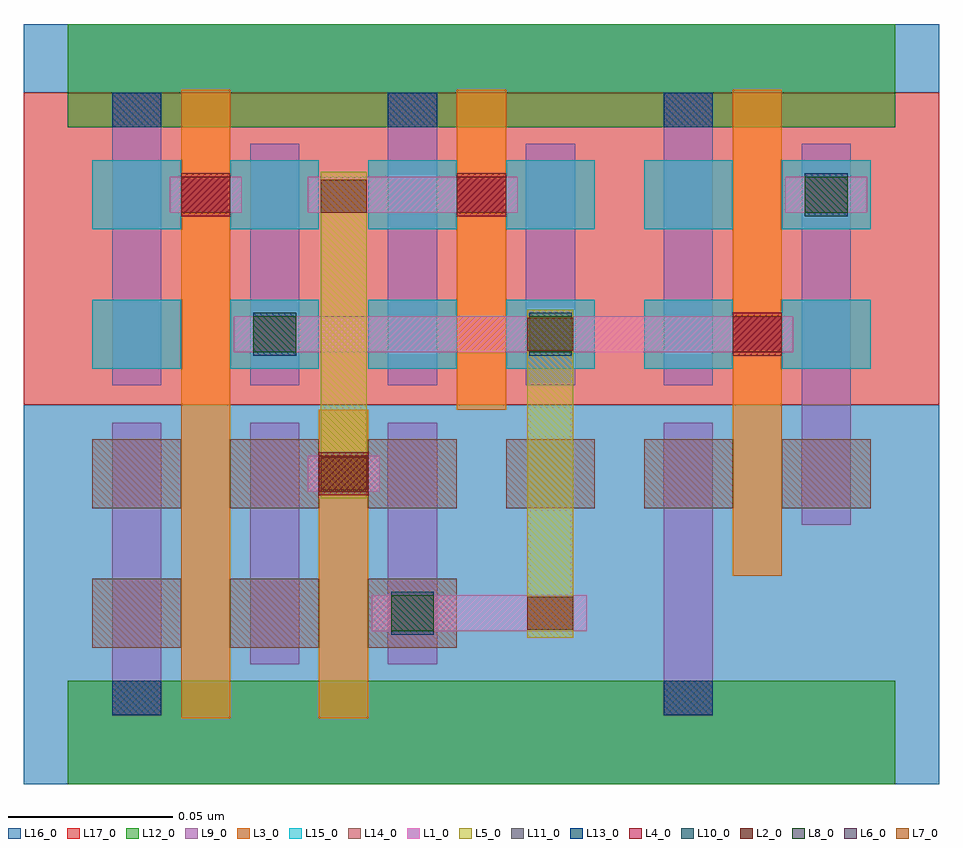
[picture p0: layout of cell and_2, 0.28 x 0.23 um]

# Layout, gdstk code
import gdstk
lib = gdstk.Library(unit=1e-6, precision=2.5e-10)
def R(c, l, rs):  # rectangles x0, y0, x1, y1
    for r in rs: c.add(gdstk.rectangle(r[:2], r[2:], *l))
def A(c, l, x, y, w, h, nx, ny, dx, dy):  # array of equal rectangles
    R(c, l, [(x+i*dx, y+j*dy, x+i*dx+w, y+j*dy+h) for i in range(nx) for j in range(ny)])
L1_0 = (1, 0)
L2_0 = (2, 0)
L3_0 = (3, 0)
L4_0 = (4, 0)
L5_0 = (5, 0)
L6_0 = (6, 0)
L7_0 = (7, 0)
L8_0 = (8, 0)
L9_0 = (9, 0)
L10_0 = (10, 0)
L11_0 = (11, 0)
L12_0 = (12, 0)
L13_0 = (13, 0)
L14_0 = (14, 0)
L15_0 = (15, 0)
L16_0 = (16, 0)
L17_0 = (17, 0)

and_2 = lib.new_cell('and_2')
R(and_2, L1_0, [(0.495,0.2225,0.5605,0.2335), (0.4755,0.265,0.4975,0.276), (0.453,0.3075,0.6235,0.3185), (0.4335,0.35,0.4555,0.361), (0.4755,0.35,0.5395,0.361), (0.621,0.35,0.646,0.361)])
R(and_2, L2_0, [(0.479,0.265,0.494,0.276), (0.605,0.3075,0.62,0.3185), (0.437,0.35,0.452,0.361), (0.521,0.35,0.536,0.361)])
R(and_2, L3_0, [(0.437,0.196,0.452,0.3875), (0.479,0.196,0.494,0.29), (0.605,0.2395,0.62,0.3875), (0.521,0.29,0.536,0.3875)])
R(and_2, L4_0, [(0.479,0.264,0.494,0.277), (0.605,0.3065,0.62,0.3195), (0.437,0.349,0.452,0.362), (0.521,0.349,0.536,0.362)])
R(and_2, L5_0, [(0.5425,0.2205,0.5565,0.3205), (0.4795,0.263,0.4935,0.3625)])
R(and_2, L6_0, [(0.5425,0.223,0.5565,0.233), (0.4795,0.2655,0.4935,0.2755), (0.5425,0.308,0.5565,0.318), (0.4795,0.35,0.4935,0.36)])
R(and_2, L7_0, [(0.5425,0.223,0.5565,0.233), (0.4795,0.2655,0.4935,0.2755), (0.5425,0.308,0.5565,0.318), (0.4795,0.35,0.4935,0.36)])
R(and_2, L8_0, [(0.501,0.2225,0.514,0.2335), (0.459,0.3075,0.472,0.3185), (0.543,0.3075,0.556,0.3185), (0.627,0.35,0.64,0.361)])
A(and_2, L9_0, 0.416, 0.2975, 0.015, 0.089, 3, 1, 0.084, 0)
R(and_2, L9_0, [(0.416,0.197,0.431,0.286), (0.584,0.197,0.599,0.286), (0.458,0.2125,0.473,0.286), (0.5,0.2125,0.515,0.286), (0.626,0.255,0.641,0.371), (0.458,0.2975,0.473,0.371), (0.542,0.2975,0.557,0.371)])
R(and_2, L10_0, [(0.501,0.2215,0.514,0.2345), (0.459,0.3065,0.472,0.3195), (0.543,0.3065,0.556,0.3195), (0.627,0.349,0.64,0.362)])
A(and_2, L11_0, 0.416, 0.376, 0.015, 0.0105, 3, 1, 0.084, 0)
R(and_2, L11_0, [(0.416,0.197,0.431,0.2075), (0.584,0.197,0.599,0.2075)])
R(and_2, L12_0, [(0.4025,0.176,0.6545,0.2075), (0.4025,0.376,0.6545,0.4075)])
A(and_2, L13_0, 0.416, 0.376, 0.015, 0.0105, 3, 1, 0.084, 0)
R(and_2, L13_0, [(0.416,0.197,0.431,0.2075), (0.584,0.197,0.599,0.2075)])
A(and_2, L14_0, 0.41, 0.2175, 0.027, 0.021, 3, 1, 0.042, 0)
A(and_2, L14_0, 0.41, 0.26, 0.027, 0.021, 6, 1, 0.042, 0)
A(and_2, L15_0, 0.41, 0.3025, 0.027, 0.021, 6, 2, 0.042, 0.0425)
R(and_2, L16_0, [(0.389,0.176,0.668,0.2915), (0.389,0.3865,0.668,0.4075)])
R(and_2, L17_0, [(0.389,0.2915,0.668,0.3865)])

lib.write_gds('and_2.gds')
